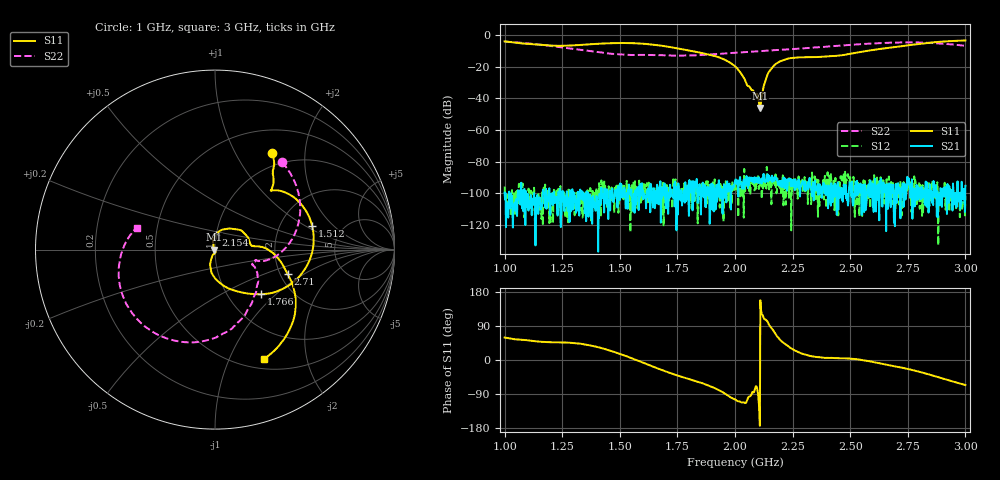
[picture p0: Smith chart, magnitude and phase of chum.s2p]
! 10/27/2017 2:35:30 PM
! C:\DOCUMENTS AND SETTINGS\VECTORSTARUSER\DESKTOP\CHUM.S2P
! CHANNEL.1
! TR.MEASUREMENT
! CORRECTED.DATA
# GHZ S RI R 50.0
! FREQ.GHZ  S11RE  S11IM  S21RE  S21IM  S12RE  S12IM  S22RE  S22IM
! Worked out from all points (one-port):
!   1001 points, 1 GHz to 3 GHz, reference 50 ohm
!   lowest |S11| = -46.1 dB at 2.108 GHz (marker M1), VSWR 1.01, Z = 49.5 - j0.054 ohm
!   |S11| at or under -10 dB: 1.806 GHz to 2.576 GHz (770.6 MHz wide, 35.2 % of centre)
!   S11 on the Smith chart (normalised r, x): 1 GHz: 0.81, +1.43; 1.512 GHz: 3.02, +1.17; 1.766 GHz: 1.42, -0.81; 2.154 GHz: 0.99, +0.16; 2.71 GHz: 2.19, -0.74; 3 GHz: 0.61, -1.35
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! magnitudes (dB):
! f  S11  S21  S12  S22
! 1 GHz  -4.0  -99.7  -95.9  -4.2
! 1.212 GHz  -6.8  -101.7  -105.8  -7.2
! 1.334 GHz  -6.3  -98.5  -104.5  -9.5
! 1.512 GHz  -5.1  -101.3  -96.1  -12.4
! 1.668 GHz  -6.5  -107.0  -105.2  -12.8
! 1.766 GHz  -8.9  -98.0  -96.7  -13.0
! 1.922 GHz  -13.8  -105.4  -99.1  -12.1
! 2 GHz  -19.8  -92.4  -92.3  -11.3
! 2.028 GHz  -24.7  -94.6  -97.8  -11.0
! 2.06 GHz  -32.4  -95.1  -93.9  -10.6
! 2.09 GHz  -37.5  -92.9  -92.8  -10.4
! 2.108 GHz  -46.1  -93.5  -95.5  -10.3
! 2.116 GHz  -39.5  -93.9  -103.7  -10.2
! 2.134 GHz  -28.0  -93.0  -94.5  -10.0
! 2.154 GHz  -22.0  -90.5  -94.3  -9.8
! 2.182 GHz  -17.9  -91.1  -99.1  -9.6
! 2.224 GHz  -15.2  -95.0  -94.8  -9.2
! 2.334 GHz  -14.1  -101.9  -86.9  -8.0
! 2.46 GHz  -12.9  -101.9  -89.2  -6.7
! 2.668 GHz  -8.1  -96.8  -89.5  -4.9
! 2.71 GHz  -7.4  -100.0  -96.1  -4.8
! 3 GHz  -3.5  -95.3  -102.1  -6.9
